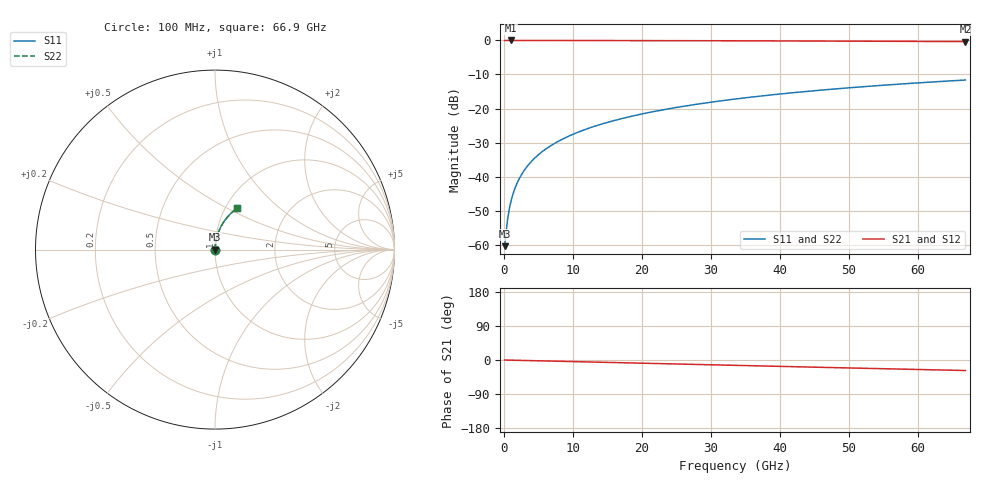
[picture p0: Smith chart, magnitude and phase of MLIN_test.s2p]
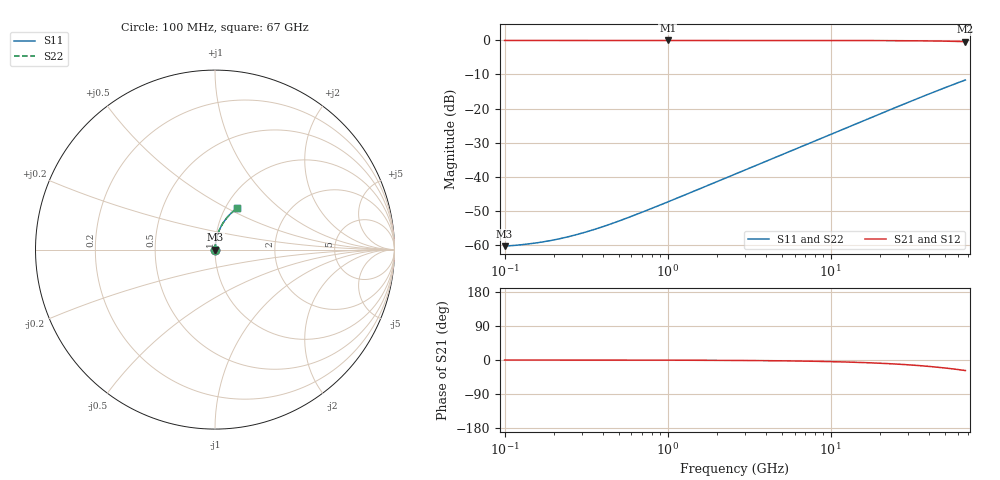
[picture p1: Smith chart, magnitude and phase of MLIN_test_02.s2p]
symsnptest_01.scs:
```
simulator lang=local
global 0

NPORT0 1 0 2 0 nport file="D:\saves\Pycharm\HowToElementBuilder\Code\symica\MLIN_test.s2p"
PORT0 1 0 port r=50 num=1 type=sine rptstart=1 rpttimes=0
PORT1 2 0 port r=50 num=2 type=sine rptstart=1 rpttimes=0

sp sp start=100000000 stop=67000000000 dec=100 file="D:\saves\Pycharm\HowToElementBuilder\Code\symica\MLIN_test_02.s2p"

DEFAULT_OPTIONS options tnom=27 temp=27  acout=0 fast_spice=0 reltol=1.000000e-003 rawfmt=nutascii
```
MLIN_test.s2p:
! Created with skrf (http://scikit-rf.org).
# Hz S RI R 50.0
!freq ReS11 ImS11 ReS21 ImS21 ReS12 ImS12 ReS22 ImS22
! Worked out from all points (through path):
!   669 points, 100 MHz to 66.9 GHz, reference 50 ohm
!   highest |S21| = -0.01 dB at 1 GHz (marker M1); lowest = -0.3 dB at 66.9 GHz (marker M2)
!   group delay of S21, straight-line fit = 1.16 ps
!   lowest |S11| = -60.4 dB at 100 MHz (marker M3), VSWR 1.00, Z = 50.1 + j0.0419 ohm
!   |S11| at or under -10 dB: start of sweep to end of sweep
!   |S22| runs from -60.4 to -11.6 dB; largest |S21 - S12| = 7.4e-14
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1e8  0.000856 0.000418  0.9991 -0.000743  0.9991 -0.000743  0.000856 0.000418
7e8  0.000725 0.00293  0.9993 -0.0052  0.9993 -0.0052  0.000725 0.00293
1e9  0.00071 0.00419  0.9993 -0.00743  0.9993 -0.00743  0.00071 0.00419
1.5e9  0.00078 0.00628  0.9992 -0.0111  0.9992 -0.0111  0.00078 0.00628
2.1e9  0.000885 0.00879  0.9991 -0.0156  0.9991 -0.0156  0.000885 0.00879
3.7e9  0.00127 0.0155  0.9986 -0.0275  0.9986 -0.0275  0.00127 0.0155
6.1e9  0.00217 0.0255  0.9976 -0.0453  0.9976 -0.0453  0.00217 0.0255
9.3e9  0.00393 0.0387  0.9955 -0.0689  0.9955 -0.0689  0.00393 0.0387
1.89e10  0.0127 0.0777  0.9852 -0.139  0.9852 -0.139  0.0127 0.0777
3.35e10  0.0359 0.1331  0.9578 -0.2418  0.9578 -0.2418  0.0359 0.1331
6.69e10  0.1249 0.2305  0.8505 -0.448  0.8505 -0.448  0.1249 0.2305
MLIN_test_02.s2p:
! Touchstone Ver. 1.0
! Number of ports is 2
# Hz  S RI  R  50
! SCATTERING PARAMETERS  :
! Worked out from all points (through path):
!   284 points, 100 MHz to 67 GHz, reference 50 ohm
!   highest |S21| = -0.01 dB at 1 GHz (marker M1); lowest = -0.3 dB at 67 GHz (marker M2)
!   group delay of S21, straight-line fit = 1.16 ps
!   lowest |S11| = -60.4 dB at 100 MHz (marker M3), VSWR 1.00, Z = 50.1 + j0.0419 ohm
!   |S11| at or under -10 dB: start of sweep to end of sweep
!   |S22| runs from -60.4 to -11.6 dB; largest |S21 - S12| = 0
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1e8  0.000856 0.000418  0.9991 -0.000743  0.9991 -0.000743  0.000856 0.000418
1.698244e8  0.000835 0.000711  0.9992 -0.00126  0.9992 -0.00126  0.000835 0.000711
2.818383e8  0.000801 0.00118  0.9992 -0.00209  0.9992 -0.00209  0.000801 0.00118
4.897788e8  0.000741 0.00205  0.9993 -0.00364  0.9993 -0.00364  0.000741 0.00205
1e9  0.00071 0.00419  0.9993 -0.00743  0.9993 -0.00743  0.00071 0.00419
2.630268e9  0.000996 0.011  0.9989 -0.0195  0.9989 -0.0195  0.000996 0.011
7.943282e9  0.00311 0.0331  0.9965 -0.0589  0.9965 -0.0589  0.00311 0.0331
1.819701e10  0.0119 0.0749  0.9862 -0.1339  0.9862 -0.1339  0.0119 0.0749
3.548134e10  0.0399 0.1401  0.9531 -0.2553  0.9531 -0.2553  0.0399 0.1401
5.011872e10  0.075 0.1876  0.9112 -0.3504  0.9112 -0.3504  0.075 0.1876
6.7e10  0.1252 0.2308  0.8501 -0.4486  0.8501 -0.4486  0.1252 0.2308
